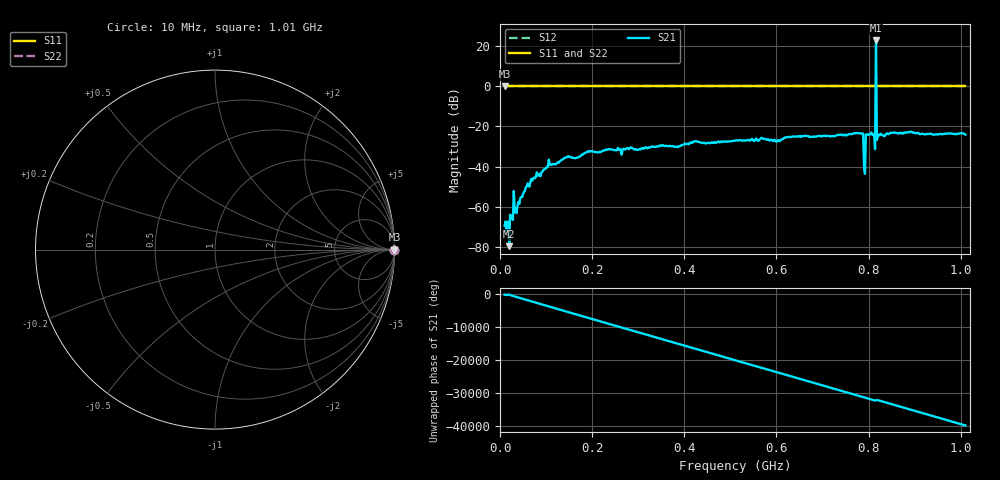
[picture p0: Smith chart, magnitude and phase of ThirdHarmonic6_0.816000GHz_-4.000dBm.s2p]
! 8/16/2025 3:08:23 AM
! C:\ANRITSUVNA\TEMP\TEMP.S2P
! CHANNEL.1
! TR.MEASUREMENT
! RAW.DATA
! RF.CORRECTION.OFF
! AVERAGING.OFF
! IF.BANDWIDTH: 5KHZ
! SWEEPTYPE:  FREQ.SWEEP(Linear)
! Reference Plane Port Info
! PORT:  PORT1  PORT2
! DISTANCE:  0  m  0  m
! TIME:  0  s  0  s
! PHASE.OFFSET:  0  deg.  0  deg.
! LOSS:  0  dB  0  dB
! REF.LOSS:  0  dB  0  dB
! REF.FREQ:  0  Hz  0  Hz
! Power Info
! POWER:  -20  dBm  -20  dBm
! EFF.POWER:  -20  dBm  -20  dBm
! SOURCE.ATTEN:  0  dB  0  dB
! TEST.ATTEN:  0  dB  0  dB
# GHZ S RI R 50.0
! FREQ.GHZ  S11RE  S11IM  S21RE  S21IM  S12RE  S12IM  S22RE  S22IM
!; PortSelection: Port_12
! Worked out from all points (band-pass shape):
!   501 points, 10 MHz to 1.01 GHz, reference 50 ohm
!   highest |S21| = 22.69 dB at 816 MHz (marker M1); lowest = -79.5 dB at 20 MHz (marker M2)
!   |S21| within 3 dB of the highest: 815.8888 MHz to 816.1215 MHz (232.7 kHz wide, 0.0285 % of centre)
!   lowest |S11| = 0.0 dB at 10 MHz (marker M3)
!   |S11| at or under -10 dB: nowhere
!   |S22| runs from 0.0 to 0.0 dB; largest |S21 - S12| = 14
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0.01  1 0  -0.000237 -0.000251  1 0  1 0
0.016  1 0  0.000223 0.000366  1 0  1 0
0.02  1 0  -0.000104 -2.14e-05  1 0  1 0
0.024  1 0  0.000498 -0.000346  1 0  1 0
0.026  1 0  1.63e-05 -0.000556  1 0  1 0
0.076  1 0  0.00516 0.000177  1 0  1 0
0.11  1 0  0.00579 0.00966  1 0  1 0
0.178  1 0  -0.0194 -0.00514  1 0  1 0
0.344  1 0  0.0314 -0.00482  1 0  1 0
0.51  1 0  -0.0427 0.0131  1 0  1 0
0.678  1 0  -0.0205 -0.0511  1 0  1 0
0.784  1 0  0.0298 -0.0602  1 0  1 0
0.788  1 0  -0.0464 0.0475  1 0  1 0
0.794  1 0  -0.0183 -0.0606  1 0  1 0
0.798  1 0  -0.00275 0.0636  1 0  1 0
0.81  1 0  0.0534 -0.0296  1 0  1 0
0.812  1 0  -0.0232 -0.0595  1 0  1 0
0.816  1 0  -2.881 -13.32  1 0  1 0
0.82  1 0  0.0231 -0.0564  1 0  1 0
0.822  1 0  -0.0537 -0.0312  1 0  1 0
0.844  1 0  0.0412 0.0495  1 0  1 0
1.01  1 0  -0.0581 -0.0241  1 0  1 0
